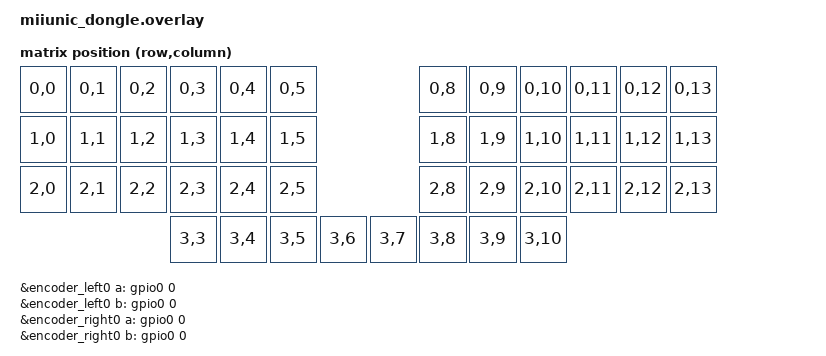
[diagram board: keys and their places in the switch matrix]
#include <dt-bindings/zmk/matrix_transform.h>

/ {
    chosen {
        zmk,kscan = &mock_kscan;
        zmk,physical-layout = &physical_layout0;
    };

    mock_kscan: mock_kscan_0 {
        compatible = "zmk,kscan-mock";
        columns = <0>;
        rows = <0>;
        events = <0>;
    };
    matrix_transform0: matrix_transform0 {
        compatible = "zmk,matrix-transform";
        columns = <14>;
        rows = <4>;
        map = <
                RC(0,0) RC(0,1) RC(0,2) RC(0,3) RC(0,4) RC(0,5)                 RC(0,8) RC(0,9) RC(0,10) RC(0,11) RC(0,12) RC(0,13)
                RC(1,0) RC(1,1) RC(1,2) RC(1,3) RC(1,4) RC(1,5)                 RC(1,8) RC(1,9) RC(1,10) RC(1,11) RC(1,12) RC(1,13)
                RC(2,0) RC(2,1) RC(2,2) RC(2,3) RC(2,4) RC(2,5)                 RC(2,8) RC(2,9) RC(2,10) RC(2,11) RC(2,12) RC(2,13)
                                        RC(3,3) RC(3,4) RC(3,5) RC(3,6) RC(3,7) RC(3,8) RC(3,9) RC(3,10)
             
        >;
    };
&physical_layout_miiunic {
    kscan = <&kscan_dongle>;
};
// == Input devices ==
// Input devices on peripheral parts
// Enabling input listeners and input-split to receive input events from peripherals
&input_split_right0 { status = "okay"; };
&input_listener_right0 { status = "okay"; };

// Assigning dummy pins to other part's encoders
// just to satisfy the devicetree requirements.
// No code will be compiled for these disabled encoders.
&encoder_left0 {
    a-gpios = <&gpio0 0 (GPIO_ACTIVE_HIGH | GPIO_PULL_UP)>;
    b-gpios = <&gpio0 0 (GPIO_ACTIVE_HIGH | GPIO_PULL_UP)>;
};
&encoder_right0 {
    a-gpios = <&gpio0 0 (GPIO_ACTIVE_HIGH | GPIO_PULL_UP)>;
    b-gpios = <&gpio0 0 (GPIO_ACTIVE_HIGH | GPIO_PULL_UP)>;
};
};
